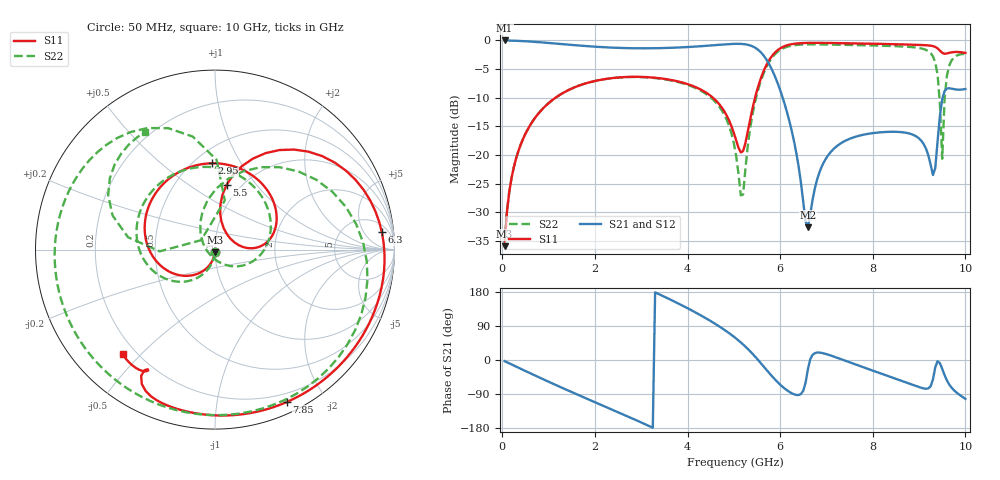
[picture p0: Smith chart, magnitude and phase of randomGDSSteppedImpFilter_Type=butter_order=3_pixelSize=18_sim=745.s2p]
! freq	dB(S11)	phase(S11)	dB(S12)	phase(S12)
!  dB(S21)	phase(S21)	dB(S22)	phase(S22)
!S-par simulation data
#  GHz  S  DB  R 50
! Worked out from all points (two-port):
!   200 points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, 50 MHz to 10 GHz, reference 50 ohm
!   highest |S21| = -0.01 dB at 50 MHz (marker M1); lowest = -32.6 dB at 6.6 GHz (marker M2)
!   |S21| within 3 dB of the highest: start of sweep to 5.676 GHz
!   lowest |S11| = -35.9 dB at 50 MHz (marker M3), VSWR 1.03, Z = 49.9 - j1.6 ohm
!   |S11| at or under -10 dB: start of sweep to 1.148 GHz; 4.549 GHz to 5.458 GHz (909 MHz wide, 18.2 % of centre)
!   |S22| runs from -35.9 to -0.7 dB; largest |S21 - S12| = 0
!   S11 on the Smith chart (normalised r, x): 50 MHz: 1.00, -0.03; 2.95 GHz: 0.60, +0.76; 5.5 GHz: 0.86, +0.72; 6.3 GHz: 9, +14; 7.85 GHz: 0.11, -1.57; 10 GHz: 0.15, -0.44
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0.05  -35.89 -93.0  -0.01 -3.0  -0.01 -3.0  -35.88 -92.4
0.2  -23.98 -103.3  -0.04 -11.7  -0.04 -11.7  -23.98 -100.7
0.5  -16.28 -122.9  -0.14 -29.1  -0.14 -29.1  -16.27 -116.3
1.75  -7.62 160.2  -0.95 -98.1  -0.95 -98.1  -7.62 -177.7
2.95  -6.35 92.3  -1.37 -162.0  -1.37 -162.0  -6.39 122.8
3.4  -6.60 68.1  -1.35 172.8  -1.35 172.8  -6.66 97.1
4.4  -9.10 18.2  -0.95 109.9  -0.95 109.9  -9.34 24.3
5.05  -17.43 10.6  -0.59 56.6  -0.59 56.6  -20.14 -58.1
5.2  -19.29 52.1  -0.64 41.0  -0.64 41.0  -26.87 -170.5
5.5  -8.73 79.9  -1.49 3.4  -1.49 3.4  -9.35 88.7
5.8  -2.97 51.7  -4.72 -39.5  -4.72 -39.5  -3.28 34.6
6.3  -0.59 6.0  -17.61 -90.5  -17.61 -90.5  -0.85 -35.5
6.6  -0.43 -12.9  -32.56 -23.8  -32.56 -23.8  -0.69 -65.0
6.7  -0.42 -18.3  -27.80 13.5  -27.80 13.5  -0.69 -73.5
7.85  -0.55 -64.8  -16.36 -21.5  -16.36 -21.5  -0.85 -148.4
8.35  -0.63 -81.1  -15.94 -43.0  -15.94 -43.0  -0.96 -175.7
8.95  -0.77 -100.1  -16.79 -69.3  -16.79 -69.3  -1.26 148.2
9.3  -1.00 -113.6  -23.48 -51.1  -23.48 -51.1  -2.79 111.1
9.4  -1.38 -118.6  -17.52 -3.3  -17.52 -3.3  -6.02 89.0
9.5  -2.17 -120.4  -10.25 -23.2  -10.25 -23.2  -20.65 145.3
9.6  -2.28 -118.9  -8.39 -53.8  -8.39 -53.8  -6.21 171.9
10  -2.18 -131.4  -8.47 -102.5  -8.47 -102.5  -2.35 120.8
